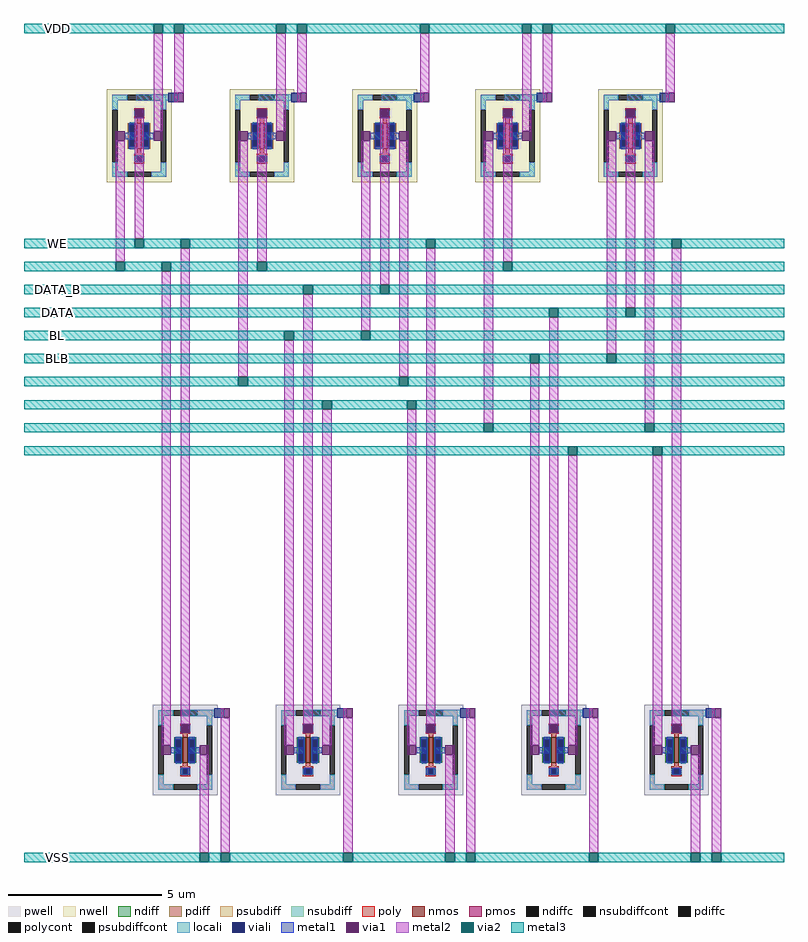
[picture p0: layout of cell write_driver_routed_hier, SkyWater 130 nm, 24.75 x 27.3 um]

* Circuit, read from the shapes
.subckt write_driver_routed_hier DATA DATA_B WE BL BLB VDD VSS
XM1 VSS WE n1 VSS sky130_fd_pr__nfet_01v8 w=0.84 l=0.15
XM2 n2 DATA_B BL VSS sky130_fd_pr__nfet_01v8 w=0.84 l=0.15
XM3 VSS WE n2 VSS sky130_fd_pr__nfet_01v8 w=0.84 l=0.15
XM4 n3 DATA BLB VSS sky130_fd_pr__nfet_01v8 w=0.84 l=0.15
XM5 VSS WE n3 VSS sky130_fd_pr__nfet_01v8 w=0.84 l=0.15
XM6 VDD WE n1 VDD sky130_fd_pr__pfet_01v8 w=0.84 l=0.15
XM7 VDD n1 n4 VDD sky130_fd_pr__pfet_01v8 w=0.84 l=0.15
XM8 n4 DATA_B BL VDD sky130_fd_pr__pfet_01v8 w=0.84 l=0.15
XM9 VDD n1 n5 VDD sky130_fd_pr__pfet_01v8 w=0.84 l=0.15
XM10 n5 DATA BLB VDD sky130_fd_pr__pfet_01v8 w=0.84 l=0.15
.ends

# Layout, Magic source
magic
tech sky130A
magscale 1 2
<< locali >>
rect 280 -770 490 -730
rect 1080 -770 1290 -730
rect 1880 -770 2090 -730
rect 2680 -770 2890 -730
rect 3480 -770 3690 -730
rect 580 -4779 790 -4739
rect 1380 -4779 1590 -4739
rect 2180 -4779 2390 -4739
rect 2980 -4779 3190 -4739
rect 3780 -4779 3990 -4739
<< viali >>
rect 490 -780 550 -720
rect 1290 -780 1350 -720
rect 2090 -780 2150 -720
rect 2890 -780 2950 -720
rect 3690 -780 3750 -720
rect 790 -4789 850 -4729
rect 1590 -4789 1650 -4729
rect 2390 -4789 2450 -4729
rect 3190 -4789 3250 -4729
rect 3990 -4789 4050 -4729
<< metal1 >>
rect 206 -1020 276 -980
rect 324 -1020 394 -980
rect 1006 -1020 1076 -980
rect 1124 -1020 1194 -980
rect 1806 -1020 1876 -980
rect 1924 -1020 1994 -980
rect 2606 -1020 2676 -980
rect 2724 -1020 2794 -980
rect 3406 -1020 3476 -980
rect 3524 -1020 3594 -980
rect 506 -5020 576 -4980
rect 624 -5020 694 -4980
rect 1306 -5020 1376 -4980
rect 1424 -5020 1494 -4980
rect 2106 -5020 2176 -4980
rect 2224 -5020 2294 -4980
rect 2906 -5020 2976 -4980
rect 3024 -5020 3094 -4980
rect 3706 -5020 3776 -4980
rect 3824 -5020 3894 -4980
<< via1 >>
rect 550 -780 590 -720
rect 1350 -780 1390 -720
rect 2150 -780 2190 -720
rect 2950 -780 2990 -720
rect 3750 -780 3790 -720
rect 270 -882 330 -822
rect 1070 -882 1130 -822
rect 1870 -882 1930 -822
rect 2670 -882 2730 -822
rect 3470 -882 3530 -822
rect 146 -1030 206 -970
rect 394 -1030 454 -970
rect 946 -1030 1006 -970
rect 1194 -1030 1254 -970
rect 1746 -1030 1806 -970
rect 1994 -1030 2054 -970
rect 2546 -1030 2606 -970
rect 2794 -1030 2854 -970
rect 3346 -1030 3406 -970
rect 3594 -1030 3654 -970
rect 850 -4789 890 -4729
rect 1650 -4789 1690 -4729
rect 2450 -4789 2490 -4729
rect 3250 -4789 3290 -4729
rect 4050 -4789 4090 -4729
rect 570 -4891 630 -4831
rect 1370 -4891 1430 -4831
rect 2170 -4891 2230 -4831
rect 2970 -4891 3030 -4831
rect 3770 -4891 3830 -4831
rect 446 -5030 506 -4970
rect 694 -5030 754 -4970
rect 1246 -5030 1306 -4970
rect 1494 -5030 1554 -4970
rect 2046 -5030 2106 -4970
rect 2294 -5030 2354 -4970
rect 2846 -5030 2906 -4970
rect 3094 -5030 3154 -4970
rect 3646 -5030 3706 -4970
rect 3894 -5030 3954 -4970
<< metal2 >>
rect 146 -1820 206 -1030
rect 270 -1670 330 -882
rect 394 -970 454 -330
rect 530 -720 590 -330
rect 530 -780 550 -720
rect 446 -4970 506 -1880
rect 570 -4831 630 -1730
rect 946 -2570 1006 -1030
rect 1070 -1820 1130 -882
rect 1194 -970 1254 -330
rect 1330 -720 1390 -330
rect 1330 -780 1350 -720
rect 2130 -720 2190 -330
rect 2130 -780 2150 -720
rect 830 -4789 850 -4729
rect 694 -5670 754 -5030
rect 830 -5670 890 -4789
rect 1246 -4970 1306 -2330
rect 1370 -4831 1430 -2030
rect 1746 -2270 1806 -1030
rect 1870 -1970 1930 -882
rect 1994 -2570 2054 -1030
rect 1494 -4970 1554 -2780
rect 1630 -4789 1650 -4729
rect 1630 -5670 1690 -4789
rect 2046 -4970 2106 -2780
rect 2170 -4831 2230 -1730
rect 2546 -2870 2606 -1030
rect 2670 -1820 2730 -882
rect 2794 -970 2854 -330
rect 2930 -720 2990 -330
rect 2930 -780 2950 -720
rect 3730 -720 3790 -330
rect 3730 -780 3750 -720
rect 2430 -4789 2450 -4729
rect 2294 -5670 2354 -5030
rect 2430 -5670 2490 -4789
rect 2846 -4970 2906 -2480
rect 2970 -4831 3030 -2180
rect 3346 -2420 3406 -1030
rect 3470 -2120 3530 -882
rect 3594 -2870 3654 -1030
rect 3094 -4970 3154 -3080
rect 3230 -4789 3250 -4729
rect 3230 -5670 3290 -4789
rect 3646 -4970 3706 -3080
rect 3770 -4831 3830 -1730
rect 4030 -4789 4050 -4729
rect 3894 -5670 3954 -5030
rect 4030 -5670 4090 -4789
<< via2 >>
rect 394 -330 454 -270
rect 530 -330 590 -270
rect 1194 -330 1254 -270
rect 270 -1730 330 -1670
rect 570 -1730 630 -1670
rect 146 -1880 206 -1820
rect 446 -1880 506 -1820
rect 1330 -330 1390 -270
rect 2130 -330 2190 -270
rect 2794 -330 2854 -270
rect 1070 -1880 1130 -1820
rect 1370 -2030 1430 -1970
rect 946 -2630 1006 -2570
rect 1246 -2330 1306 -2270
rect 694 -5730 754 -5670
rect 1870 -2030 1930 -1970
rect 1746 -2330 1806 -2270
rect 1994 -2630 2054 -2570
rect 2170 -1730 2230 -1670
rect 1494 -2780 1554 -2720
rect 2046 -2780 2106 -2720
rect 830 -5730 890 -5670
rect 2930 -330 2990 -270
rect 3730 -330 3790 -270
rect 2670 -1880 2730 -1820
rect 2970 -2180 3030 -2120
rect 2546 -2930 2606 -2870
rect 2846 -2480 2906 -2420
rect 1630 -5730 1690 -5670
rect 2294 -5730 2354 -5670
rect 3470 -2180 3530 -2120
rect 3346 -2480 3406 -2420
rect 3594 -2930 3654 -2870
rect 3770 -1730 3830 -1670
rect 3094 -3080 3154 -3020
rect 3646 -3080 3706 -3020
rect 2430 -5730 2490 -5670
rect 3230 -5730 3290 -5670
rect 3894 -5730 3954 -5670
rect 4030 -5730 4090 -5670
<< metal3 >>
rect -450 -330 394 -270
rect 454 -330 530 -270
rect 590 -330 1194 -270
rect 1254 -330 1330 -270
rect 1390 -330 2130 -270
rect 2190 -330 2794 -270
rect 2854 -330 2930 -270
rect 2990 -330 3730 -270
rect 3790 -330 4500 -270
rect -450 -1730 270 -1670
rect 330 -1730 570 -1670
rect 630 -1730 2170 -1670
rect 2230 -1730 3770 -1670
rect 3830 -1730 4500 -1670
rect -450 -1880 146 -1820
rect 206 -1880 446 -1820
rect 506 -1880 1070 -1820
rect 1130 -1880 2670 -1820
rect 2730 -1880 4500 -1820
rect -450 -2030 1370 -1970
rect 1430 -2030 1870 -1970
rect 1930 -2030 4500 -1970
rect -450 -2180 2970 -2120
rect 3030 -2180 3470 -2120
rect 3530 -2180 4500 -2120
rect -450 -2330 1246 -2270
rect 1306 -2330 1746 -2270
rect 1806 -2330 4500 -2270
rect -450 -2480 2846 -2420
rect 2906 -2480 3346 -2420
rect 3406 -2480 4500 -2420
rect -450 -2630 946 -2570
rect 1006 -2630 1994 -2570
rect 2054 -2630 4500 -2570
rect -450 -2780 1494 -2720
rect 1554 -2780 2046 -2720
rect 2106 -2780 4500 -2720
rect -450 -2930 2546 -2870
rect 2606 -2930 3594 -2870
rect 3654 -2930 4500 -2870
rect -450 -3080 3094 -3020
rect 3154 -3080 3646 -3020
rect 3706 -3080 4500 -3020
rect -450 -5730 694 -5670
rect 754 -5730 830 -5670
rect 890 -5730 1630 -5670
rect 1690 -5730 2294 -5670
rect 2354 -5730 2430 -5670
rect 2490 -5730 3230 -5670
rect 3290 -5730 3894 -5670
rect 3954 -5730 4030 -5670
rect 4090 -5730 4500 -5670
use sky130_fd_pr__nfet_01v8_AWEERL  XMNDBLB
transform 1 0 3000 0 1 -5000
box -211 -294 211 294
use sky130_fd_pr__nfet_01v8_AWEERL  XMNDBL
transform 1 0 1400 0 1 -5000
box -211 -294 211 294
use sky130_fd_pr__nfet_01v8_AWEERL  XMNENBLB
transform 1 0 3800 0 1 -5000
box -211 -294 211 294
use sky130_fd_pr__nfet_01v8_AWEERL  XMNENBL
transform 1 0 2200 0 1 -5000
box -211 -294 211 294
use sky130_fd_pr__nfet_01v8_AWEERL  XMNWEB
transform 1 0 600 0 1 -5000
box -211 -294 211 294
use sky130_fd_pr__pfet_01v8_XM5RRH  XMPDBLB
transform 1 0 3500 0 1 -1000
box -211 -303 211 303
use sky130_fd_pr__pfet_01v8_XM5RRH  XMPDBL
transform 1 0 1900 0 1 -1000
box -211 -303 211 303
use sky130_fd_pr__pfet_01v8_XM5RRH  XMPENBLB
transform 1 0 2700 0 1 -1000
box -211 -303 211 303
use sky130_fd_pr__pfet_01v8_XM5RRH  XMPENBL
transform 1 0 1100 0 1 -1000
box -211 -303 211 303
use sky130_fd_pr__pfet_01v8_XM5RRH  XMPWEB
transform 1 0 300 0 1 -1000
box -211 -303 211 303
<< labels >>
rlabel metal3 -255 -2175 -205 -2125 0 DATA
port 0 n
rlabel metal3 -255 -2025 -205 -1975 0 DATA_B
port 1 n
rlabel metal3 -255 -1725 -205 -1675 0 WE
port 2 n
rlabel metal3 -255 -2325 -205 -2275 0 BL
port 3 n
rlabel metal3 -255 -2475 -205 -2425 0 BLB
port 4 n
rlabel metal3 -255 -325 -205 -275 0 VDD
port 5 n
rlabel metal3 -255 -5725 -205 -5675 0 VSS
port 6 n
<< end >>

# cell sky130_fd_pr__nfet_01v8_AWEERL: kit device sky130_fd_pr__nfet_01v8, w 0.84 l 0.15 m 1 nf 1 diffcov 100 polycov 100 guard 1 glc 1 grc 1 gtc 1 gbc 1 tbcov 100 rlcov 100 topc 1 botc 1 poverlap 0 doverlap 1 lmin 0.15 wmin 0.42 class mosfet compatible {sky130_fd_pr__nfet_01v8 sky130_fd_pr__nfet_01v8_lvt sky130_fd_bs_flash__special_sonosfet_star sky130_fd_pr__nfet_g5v0d10v5 sky130_fd_pr__nfet_05v0_nvt sky130_fd_pr__nfet_03v3_nvt} full_metal 1 viasrc 100 viadrn 100 viagate 100 viagb 0 viagr 0 viagl 0 viagt 0

# cell sky130_fd_pr__pfet_01v8_XM5RRH: kit device sky130_fd_pr__pfet_01v8, w 0.84 l 0.15 m 1 nf 1 diffcov 100 polycov 100 guard 1 glc 1 grc 1 gtc 1 gbc 1 tbcov 100 rlcov 100 topc 1 botc 1 poverlap 0 doverlap 1 lmin 0.15 wmin 0.42 class mosfet compatible {sky130_fd_pr__pfet_01v8 sky130_fd_pr__pfet_01v8_lvt sky130_fd_pr__pfet_01v8_hvt sky130_fd_pr__pfet_g5v0d10v5} full_metal 1 viasrc 100 viadrn 100 viagate 100 viagb 0 viagr 0 viagl 0 viagt 0
